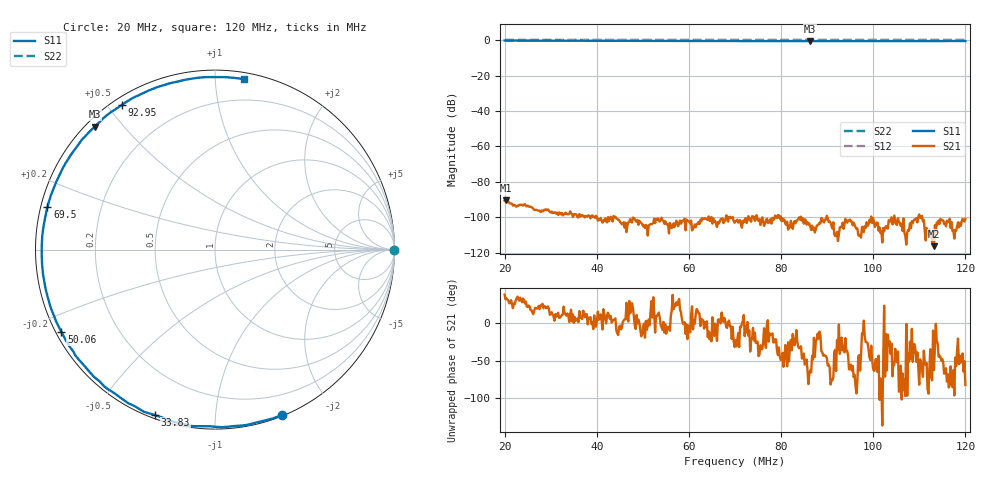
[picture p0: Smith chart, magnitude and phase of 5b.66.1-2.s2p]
! Anritsu VNA Master:  Model: MS2036C/10/77
! SN:  1601066
! /card0/usr/18may27.balun/5b.66.s2p
! Existing Calibration Information:
! TYPE:  Current Settings,  Active Cal Settings
! TIME:  05/27/2018 03:30:40 PM,  05/27/2018 03:21:57 PM
! INTERNAL TEMP:  52.8 C,  52.3 C
! # POINTS:  500,  500
! START FREQ:  20.000 MHz,  20.000 MHz
! STOP FREQ:  120.000 MHz,  120.000 MHz
! SOURCE POWER:  High,  High
! IFBW:  50 Hz,  50 Hz
! AVG FACTOR:  1 ,  1
! REF PLANE 1:  0 mm,  0 mm
! REF PLANE 2:  0 mm,  0 mm
! CAL TYPE:  Full S11,  Full S11
! CAL METHOD:  SOLT,  SOLT
! CAL LINE TYPE:  Coax,  Coax
! DUT PORT 1:  K-Conn(M),  K-Conn(M)
! DUT PORT 2:  K-Conn(M),  K-Conn(M)
! CAL STATUS:  OK: Accuracy High,  --
# GHZ S DB R 50.0
! FREQ.GHZ  S11DB  S11A  S21DB  S21A  S12DB  S12A  S22DB  S22A
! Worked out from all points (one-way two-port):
!   500 points, 20 MHz to 120 MHz, reference 50 ohm
!   highest |S21| = -90.37 dB at 20.2 MHz (marker M1); lowest = -116.4 dB at 113.2 MHz (marker M2)
!   lowest |S11| = -0.4 dB at 86.33 MHz (marker M3), VSWR 46.06, Z = 1.28 + j21 ohm
!   |S11| at or under -10 dB: nowhere
!   |S22| runs from 0.0 to 0.0 dB; largest |S21 - S12| = 1
!   S11 on the Smith chart (normalised r, x): 20 MHz: 0.01, -1.49; 33.83 MHz: 0.01, -0.70; 50.06 MHz: 0.02, -0.25; 69.5 MHz: 0.02, +0.12; 92.95 MHz: 0.03, +0.54; 120 MHz: 0.05, +1.18
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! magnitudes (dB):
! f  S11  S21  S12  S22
! 20 MHz  -0.1  -90.7  0.0  0.0
! 20.2 MHz  -0.1  -90.4  0.0  0.0
! 23.81 MHz  -0.1  -93.0  0.0  0.0
! 27.82 MHz  -0.1  -97.1  0.0  0.0
! 29.62 MHz  -0.1  -96.3  0.0  0.0
! 33.83 MHz  -0.2  -98.4  0.0  0.0
! 35.03 MHz  -0.1  -98.4  0.0  0.0
! 36.83 MHz  -0.2  -98.9  0.0  0.0
! 39.24 MHz  -0.2  -100.0  0.0  0.0
! 40.84 MHz  -0.2  -100.4  0.0  0.0
! 50.06 MHz  -0.3  -105.1  0.0  0.0
! 53.47 MHz  -0.3  -101.9  0.0  0.0
! 69.5 MHz  -0.3  -99.9  0.0  0.0
! 70.1 MHz  -0.3  -102.5  0.0  0.0
! 82.73 MHz  -0.3  -103.5  0.0  0.0
! 86.33 MHz  -0.4  -105.4  0.0  0.0
! 86.73 MHz  -0.4  -104.8  0.0  0.0
! 89.34 MHz  -0.3  -103.0  0.0  0.0
! 92.95 MHz  -0.4  -105.7  0.0  0.0
! 103.4 MHz  -0.4  -101.7  0.0  0.0
! 113.2 MHz  -0.3  -116.4  0.0  0.0
! 120 MHz  -0.3  -101.0  0.0  0.0
